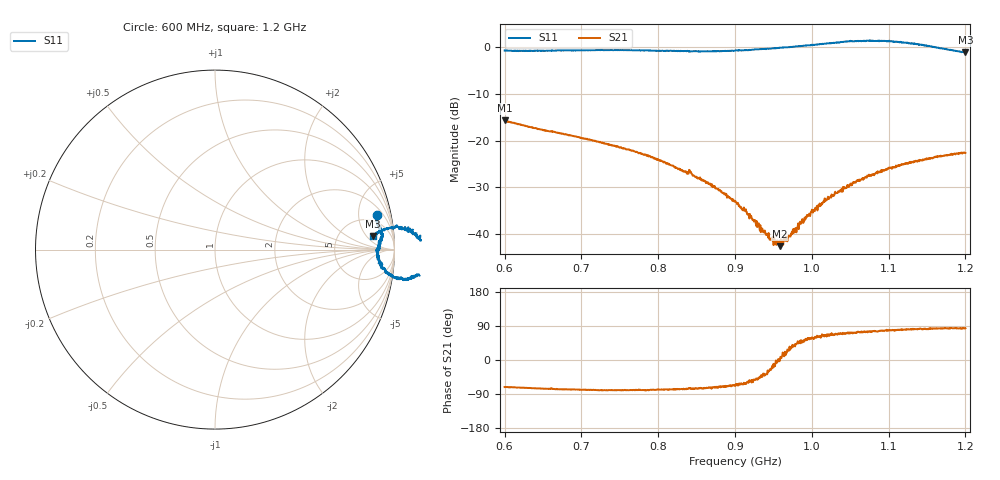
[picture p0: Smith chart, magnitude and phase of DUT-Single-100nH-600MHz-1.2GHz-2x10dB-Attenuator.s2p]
# HZ S RI R 50
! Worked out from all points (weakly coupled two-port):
!   1010 points, 600 MHz to 1.2 GHz, reference 50 ohm
!   highest |S21| = -15.60 dB at 600 MHz (marker M1); lowest = -42.6 dB at 958 MHz (marker M2)
!   lowest |S11| = -1.1 dB at 1.2 GHz (marker M3), VSWR 16.06, Z = 547 + j373 ohm
!   |S11| at or under -10 dB: nowhere
!   S12 and S22 are empty: the file has one direction only
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6e8  0.9051 0.1934  0.0533 -0.1572  0 0  0 0
7.004955e8  0.9273 0.1002  0.0211 -0.1046  0 0  0 0
7.647175e8  0.9283 0.0713  0.015 -0.0774  0 0  0 0
8.003964e8  0.9162 0.0414  0.0128 -0.0614  0 0  0 0
8.366699e8  0.9102 0.00804  0.0102 -0.0455  0 0  0 0
8.43211e8  0.9038 -0.000613  0.0109 -0.0432  0 0  0 0
8.473736e8  0.9106 -0.00224  0.0102 -0.0405  0 0  0 0
8.705648e8  0.9059 -0.0395  0.00947 -0.0304  0 0  0 0
9.002972e8  0.9239 -0.0801  0.00845 -0.0211  0 0  0 0
9.139741e8  0.9284 -0.0974  0.009 -0.0161  0 0  0 0
9.472744e8  0.9638 -0.1331  0.00801 -0.00359  0 0  0 0
9.579781e8  0.9837 -0.1387  0.00742 -0.000422  0 0  0 0
9.704657e8  0.9932 -0.1503  0.00842 0.00422  0 0  0 0
9.847373e8  1.018 -0.159  0.00857 0.0105  0 0  0 0
1.000198e9  1.048 -0.1642  0.00922 0.0158  0 0  0 0
1.018632e9  1.084 -0.1617  0.00975 0.0214  0 0  0 0
1.04004e9  1.135 -0.1419  0.0106 0.0264  0 0  0 0
1.073934e9  1.178 -0.0629  0.0102 0.0406  0 0  0 0
1.100099e9  1.163 0.0177  0.0106 0.049  0 0  0 0
1.134589e9  1.087 0.1166  0.00888 0.0597  0 0  0 0
1.154807e9  1.014 0.1257  0.00819 0.064  0 0  0 0
1.2e9  0.8796 0.0753  0.00804 0.0736  0 0  0 0
